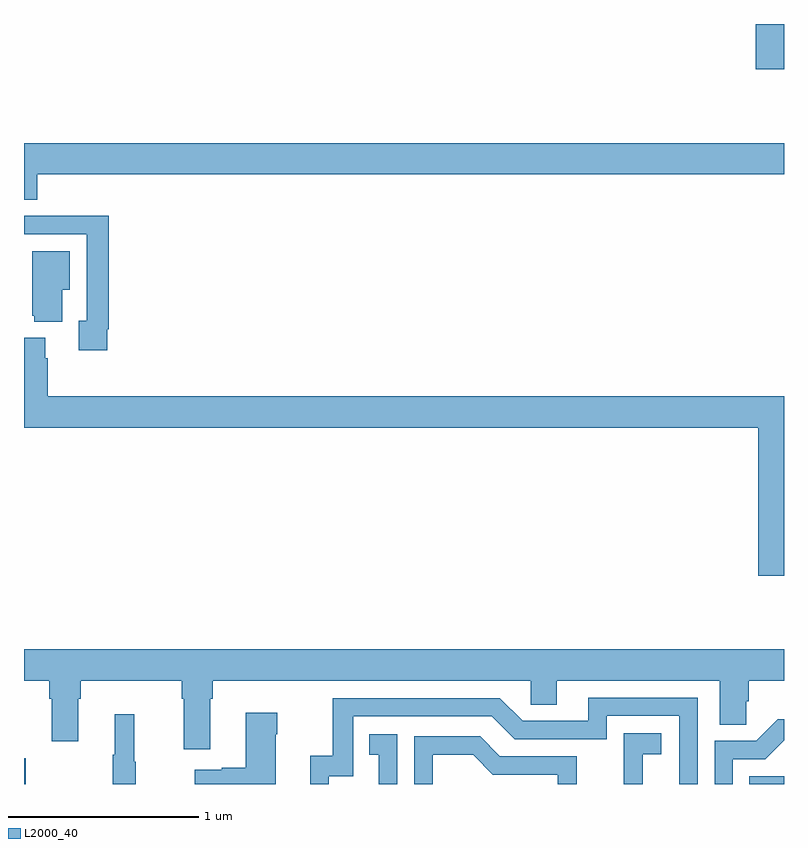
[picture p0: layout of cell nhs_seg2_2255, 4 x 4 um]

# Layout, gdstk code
import gdstk
lib = gdstk.Library(unit=1e-6, precision=1e-09)
def R(c, l, rs):  # rectangles x0, y0, x1, y1
    for r in rs: c.add(gdstk.rectangle(r[:2], r[2:], *l))
def P(c, l, *ps):  # polygons
    for p in ps: c.add(gdstk.Polygon(p, *l))
L2000_40 = (2000, 40)

nhs_seg2_2255 = lib.new_cell('nhs_seg2_2255')
R(nhs_seg2_2255, L2000_40, [(229,605.8,229.008,605.936), (232.816,605.8,233,605.842), (232.85,609.561,233,609.8)])
P(nhs_seg2_2255, L2000_40, [(229.07,609.008),(233,609.008),(233,609.172),(229,609.172),(229,608.875),(229.07,608.875)],
  [(229.438,608.194),(229.445,608.194),(229.445,608.792),(229.153,608.792),(229.153,608.79),(229,608.79),(229,608.694),(229.329,608.694),(229.329,608.238),(229.289,608.238),(229.289,608.082),(229.438,608.082)],
  [(229.201,608.402),(229.24,608.402),(229.24,608.605),(229.043,608.605),(229.043,608.265),(229.055,608.265),(229.055,608.234),(229.201,608.234)],
  [(233,607.84),(229.124,607.84),(229.124,608.042),(229.111,608.042),(229.111,608.149),(229,608.149),(229,607.676),(232.865,607.676),(232.865,606.897),(233,606.897)],
  [(229.981,606.248),(229.994,606.248),(229.994,606.344),(231.666,606.344),(231.666,606.217),(231.805,606.217),(231.805,606.344),(232.661,606.344),(232.661,606.112),(232.8,606.112),(232.8,606.235),(232.814,606.235),(232.814,606.344),(233,606.344),(233,606.508),(229,606.508),(229,606.344),(229.133,606.344),(229.133,606.248),(229.145,606.248),(229.145,606.024),(229.285,606.024),(229.285,606.248),(229.298,606.248),(229.298,606.344),(229.829,606.344),(229.829,606.248),(229.841,606.248),(229.841,605.982),(229.981,605.982)],
  [(230.604,605.841),(230.733,605.841),(230.733,606.156),(231.462,606.156),(231.582,606.036),(232.068,606.036),(232.068,606.159),(232.449,606.159),(232.449,605.8),(232.545,605.8),(232.545,606.255),(231.971,606.255),(231.971,606.132),(231.624,606.132),(231.504,606.252),(230.625,606.252),(230.625,605.95),(230.507,605.95),(230.507,605.8),(230.604,605.8)],
  [(230.326,606.062),(230.334,606.062),(230.334,606.175),(230.168,606.175),(230.168,605.885),(230.042,605.885),(230.042,605.875),(229.899,605.875),(229.899,605.8),(230.326,605.8)],
  [(229.588,605.916),(229.58,605.916),(229.58,606.166),(229.478,606.166),(229.478,605.953),(229.467,605.953),(229.467,605.8),(229.588,605.8)],
  [(232.731,605.931),(232.9,605.931),(233,606.031),(233,606.14),(232.967,606.14),(232.854,606.027),(232.635,606.027),(232.635,605.8),(232.731,605.8)],
  [(232.256,605.957),(232.354,605.957),(232.354,606.067),(232.156,606.067),(232.156,605.861),(232.157,605.861),(232.157,605.8),(232.256,605.8)],
  [(230.964,606.061),(230.818,606.061),(230.818,605.955),(230.867,605.955),(230.867,605.8),(230.964,605.8)],
  [(231.15,605.954),(231.364,605.954),(231.468,605.85),(231.81,605.85),(231.81,605.8),(231.909,605.8),(231.909,605.946),(231.505,605.946),(231.4,606.051),(231.054,606.051),(231.054,605.8),(231.15,605.8)])

lib.write_gds('nhs_seg2_2255.gds')
